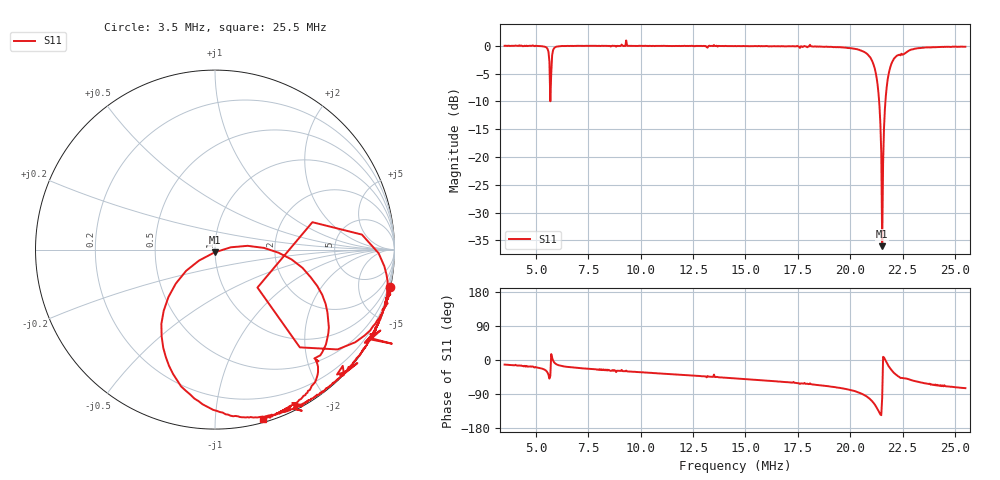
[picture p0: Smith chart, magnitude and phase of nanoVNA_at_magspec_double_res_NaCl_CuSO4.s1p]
# HZ S RI R 50
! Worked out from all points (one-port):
!   505 points, 3.5 MHz to 25.5 MHz, reference 50 ohm
!   lowest |S11| = -36.0 dB at 21.53 MHz (marker M1), VSWR 1.03, Z = 49.7 - j1.55 ohm
!   |S11| at or under -10 dB: 21.38 MHz to 21.68 MHz (301.8 kHz wide, 1.4 % of centre)
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3500000  0.9772 -0.2106
5333342  0.9032 -0.3962
5464295  0.8645 -0.4502
5551597  0.7816 -0.5161
5638899  0.4725 -0.5446
5726201  0.5426 0.1527
5813503  0.9117 -0.0203
5900805  0.9555 -0.139
6250013  0.9564 -0.2779
9000026  0.8744 -0.4801
1.175004e7  0.7809 -0.6194
1.450005e7  0.661 -0.7452
1.725006e7  0.4991 -0.8575
2.000008e7  0.1812 -0.9336
2.074214e7  -0.0706 -0.861
2.1135e7  -0.2738 -0.5993
2.135326e7  -0.2596 -0.2646
2.139691e7  -0.2188 -0.1898
2.144056e7  -0.1606 -0.118
2.152786e7  -0.00261 -0.0156
2.161516e7  0.1819 0.021
2.165882e7  0.2735 0.00929
2.170247e7  0.3542 -0.0174
2.187707e7  0.5696 -0.2025
2.226993e7  0.6072 -0.5526
2.275009e7  0.5741 -0.682
2.362311e7  0.4544 -0.8534
2.55001e7  0.265 -0.9442
